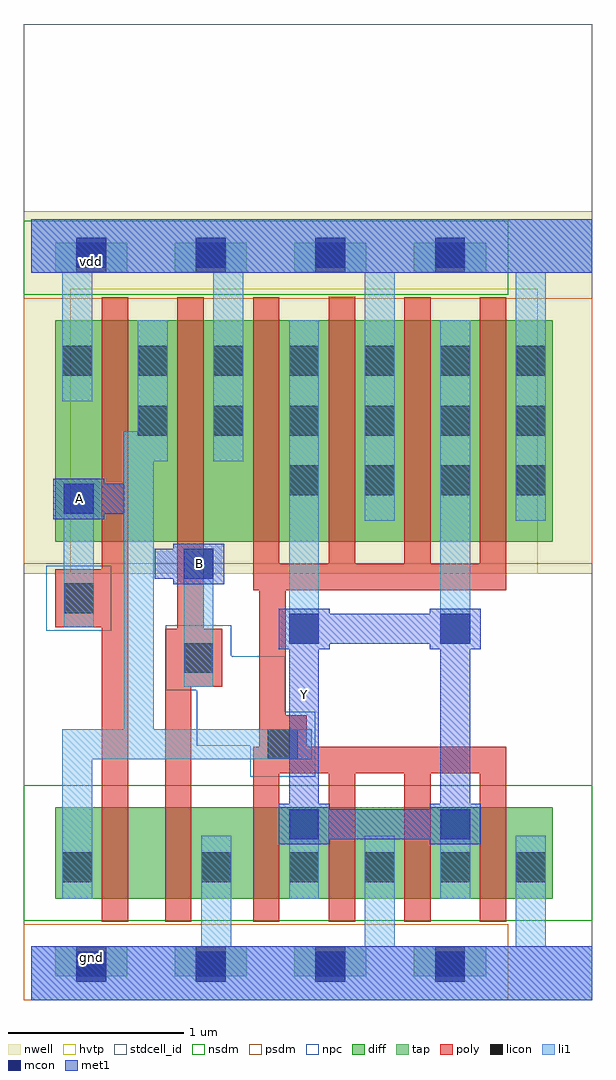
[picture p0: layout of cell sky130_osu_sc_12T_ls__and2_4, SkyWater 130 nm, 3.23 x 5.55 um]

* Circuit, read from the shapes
.subckt sky130_osu_sc_12T_ls__and2_4 A B Y gnd vdd
XM1 n1 A n2 gnd sky130_fd_pr__nfet_01v8 w=0.52 l=0.15
XM2 gnd B n1 gnd sky130_fd_pr__nfet_01v8 w=0.52 l=0.15
XM3 Y n2 gnd gnd sky130_fd_pr__nfet_01v8 w=0.52 l=0.15 m=4
XM4 n2 A vdd vdd sky130_fd_pr__pfet_01v8_hvt w=1.26 l=0.15
XM5 vdd B n2 vdd sky130_fd_pr__pfet_01v8_hvt w=1.26 l=0.15
XM6 Y n2 vdd vdd sky130_fd_pr__pfet_01v8_hvt w=1.26 l=0.15 m=4
.ends

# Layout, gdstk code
import gdstk
lib = gdstk.Library(unit=1e-6, precision=1e-09)
def R(c, l, rs):  # rectangles x0, y0, x1, y1
    for r in rs: c.add(gdstk.rectangle(r[:2], r[2:], *l))
def A(c, l, x, y, w, h, nx, ny, dx, dy):  # array of equal rectangles
    R(c, l, [(x+i*dx, y+j*dy, x+i*dx+w, y+j*dy+h) for i in range(nx) for j in range(ny)])
nwell = (64, 20)
diff = (65, 20)
tap = (65, 44)
poly = (66, 20)
licon = (66, 44)
li1 = (67, 20)
mcon = (67, 44)
met1 = (68, 20)
hvtp = (78, 44)
stdcell_id = (81, 4)
nsdm = (93, 44)
psdm = (94, 20)
npc = (95, 20)

sky130_osu_sc_12t_ls__an = lib.new_cell('sky130_osu_sc_12T_ls__and2_4')
R(sky130_osu_sc_12t_ls__an, nwell, [(-0.045,2.425,3.19,4.485)])
R(sky130_osu_sc_12t_ls__an, diff, [(0.135,0.575,2.965,1.095), (0.135,2.605,2.965,3.865)])
A(sky130_osu_sc_12t_ls__an, tap, 0.135, 0.135, 0.41, 0.17, 4, 2, 0.68, 4)
A(sky130_osu_sc_12t_ls__an, poly, 1.26, 0.445, 0.15, 0.845, 4, 1, 0.43, 0)
R(sky130_osu_sc_12t_ls__an, poly, [(0.4,0.445,0.55,2.12), (0.76,0.445,0.91,1.78), (1.26,1.29,2.7,1.44), (1.295,1.44,1.565,1.62), (1.295,1.62,1.445,2.33), (0.76,1.78,1.085,2.11), (0.83,2.11,0.98,3.995), (0.135,2.12,0.55,2.45), (1.26,2.33,2.7,2.48), (0.4,2.45,0.55,3.995), (1.26,2.48,1.41,3.995), (1.69,2.48,1.84,4), (2.12,2.48,2.27,3.995), (2.55,2.48,2.7,3.995)])
A(sky130_osu_sc_12t_ls__an, licon, 0.255, 0.135, 0.17, 0.17, 4, 2, 0.68, 4)
A(sky130_osu_sc_12t_ls__an, licon, 1.465, 0.67, 0.17, 0.17, 4, 2, 0.43, 2.2)
A(sky130_osu_sc_12t_ls__an, licon, 0.605, 3.21, 0.17, 0.17, 6, 1, 0.43, 0)
A(sky130_osu_sc_12t_ls__an, licon, 0.175, 3.55, 0.17, 0.17, 7, 1, 0.43, 0)
R(sky130_osu_sc_12t_ls__an, licon, [(0.175,0.67,0.345,0.84), (0.965,0.67,1.135,0.84), (1.345,1.37,1.515,1.54), (0.865,1.86,1.035,2.03), (0.185,2.2,0.355,2.37)])
R(sky130_osu_sc_12t_ls__an, li1, [(0,0,3.19,0.305), (0.965,0.305,1.135,0.935), (1.895,0.305,2.065,0.935), (2.755,0.305,2.925,0.935), (0.175,0.575,0.345,1.37), (1.465,0.575,1.635,1.085), (2.325,0.575,2.495,1.085), (0.175,1.37,1.595,1.54), (0.525,1.54,0.695,3.065), (0.865,1.78,1.035,2.565), (1.465,2.025,1.635,3.865), (2.325,2.025,2.495,3.865), (0.185,2.12,0.355,2.935), (1.895,2.725,2.065,4.135), (2.755,2.725,2.925,4.135), (0.525,3.065,0.775,3.235), (1.035,3.065,1.205,4.135), (0.605,3.235,0.775,3.865), (0.175,3.405,0.345,4.135), (0,4.135,3.19,4.44)])
A(sky130_osu_sc_12t_ls__an, mcon, 0.255, 0.105, 0.17, 0.17, 4, 2, 0.68, 4.06)
R(sky130_osu_sc_12t_ls__an, mcon, [(1.465,0.915,1.635,1.085), (2.325,0.915,2.495,1.085), (1.465,2.025,1.635,2.195), (2.325,2.025,2.495,2.195), (0.865,2.395,1.035,2.565), (0.185,2.765,0.355,2.935)])
R(sky130_osu_sc_12t_ls__an, met1, [(0,0,3.19,0.305), (1.405,0.885,1.695,0.915), (2.265,0.885,2.555,0.915), (1.405,0.915,2.555,1.085), (1.405,1.085,1.695,1.115), (2.265,1.085,2.555,1.115), (1.465,1.115,1.635,1.995), (2.325,1.115,2.495,1.995), (1.405,1.995,1.695,2.025), (2.265,1.995,2.555,2.025), (1.405,2.025,2.555,2.195), (1.405,2.195,1.695,2.225), (2.265,2.195,2.555,2.225), (0.805,2.365,1.095,2.395), (0.7,2.395,1.095,2.565), (0.805,2.565,1.095,2.595), (0.125,2.735,0.415,2.765), (0.125,2.765,0.525,2.935), (0.125,2.935,0.415,2.965), (0,4.135,3.19,4.44)])
R(sky130_osu_sc_12t_ls__an, hvtp, [(0.22,2.425,2.88,4.045)])
R(sky130_osu_sc_12t_ls__an, stdcell_id, [(-0.045,0,3.19,5.55)])
R(sky130_osu_sc_12t_ls__an, nsdm, [(-0.045,0.45,3.19,1.22), (-0.045,4.01,2.71,4.43)])
R(sky130_osu_sc_12t_ls__an, psdm, [(-0.045,0,2.71,0.43), (-0.045,2.48,3.19,3.99)])
R(sky130_osu_sc_12t_ls__an, npc, [(1.245,1.27,1.615,1.445), (0.94,1.445,1.615,1.64), (0.94,1.64,1.44,1.76), (0.765,1.76,1.44,1.955), (0.765,1.955,1.135,2.13), (0.085,2.1,0.455,2.47)])
sky130_osu_sc_12t_ls__an.add(gdstk.Label('gnd', (0.34,0.24), layer=68, texttype=16))
sky130_osu_sc_12t_ls__an.add(gdstk.Label('vdd', (0.34,4.2), layer=68, texttype=16))
sky130_osu_sc_12t_ls__an.add(gdstk.Label('Y', (1.555,1.74), layer=68, texttype=5))
sky130_osu_sc_12t_ls__an.add(gdstk.Label('A', (0.275,2.85), layer=68, texttype=5))
sky130_osu_sc_12t_ls__an.add(gdstk.Label('B', (0.955,2.48), layer=68, texttype=5))

lib.write_gds('sky130_osu_sc_12T_ls__and2_4.gds')
